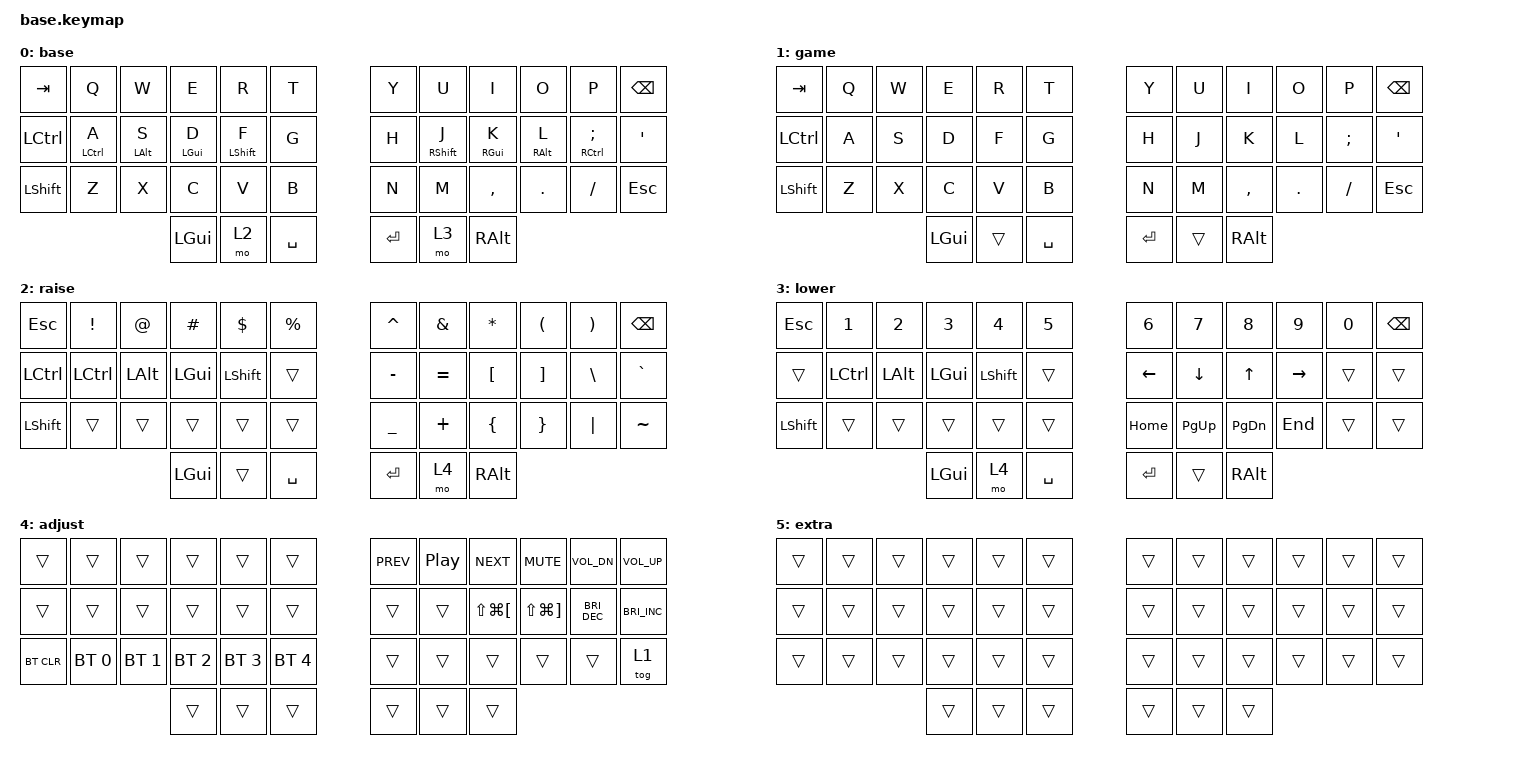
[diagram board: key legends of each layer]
// clang-format off

#include <behaviors.dtsi>
#include <behaviors/num_word.dtsi> // Requires zmk-auto-layer module.
#include <behaviors/unicode.dtsi> // Requires zmk-unicode module.
#include <zmk-helpers/helper.h> // Requires zmk-helpers module.
#include <dt-bindings/zmk/keys.h>
#ifdef CONFIG_WIRELESS
  #include <dt-bindings/zmk/bt.h>
  #include <dt-bindings/zmk/outputs.h>
  #define _BT_SEL_KEYS_                                                        \
      &bt BT_SEL 0 &bt BT_SEL 1 &bt BT_SEL 2 &bt BT_SEL 3 &bt BT_CLR
#else
  #define _BT_SEL_KEYS_ &trans &trans &trans &trans &trans
#endif

#define DEF 0 
#define GAME 1 // Game
#define NAV 2 // Upper
#define FN 3 // Lower
#define NUM 4 // Adjust
#define SYS 5

#define XXX &none
#define ___ &trans

/* Global defaults */

#define QUICK_TAP_MS 175

&sk {
  release-after-ms = <900>;
  quick-release;
};

&sl { // Allow sticky mods to chord across sticky layers.
  ignore-modifiers;
};

&lt {
  flavor = "balanced";
  tapping-term-ms = <200>;
  quick-tap-ms = <QUICK_TAP_MS>;
};

/* Homerow mods */

#define KEYS_L LT0 LT1 LT2 LT3 LT4 LT5 LM0 LM1 LM2 LM3 LM4 LM5 LB0 LB1 LB2 LB3 LB4 LB5
#define KEYS_R RT0 RT1 RT2 RT3 RT4 RT5 RM0 RM1 RM2 RM3 RM4 RM5 RB0 RB1 RB2 RB3 RB4 RB5
#define KEYS_ALL LT0 LT1 LT2 LT3 LT4 LT5 LM0 LM1 LM2 LM3 LM4 LM5 LB0 LB1 LB2 LB3 LB4 LB5 RT0 RT1 RT2 RT3 RT4 RT5 RM0 RM1 RM2 RM3 RM4 RM5 RB0 RB1 RB2 RB3 RB4 RB5
#define THUMBS LH2 LH1 LH0 RH0 RH1 RH2 // Thumbs on 36+ keys.

#define MAKE_HRM(NAME, HOLD, TAP, TRIGGER_POS)                                 \
  ZMK_HOLD_TAP(NAME, bindings = <HOLD>, <TAP>; flavor = "balanced";            \
               tapping-term-ms = <280>; quick-tap-ms = <QUICK_TAP_MS>;         \
               require-prior-idle-ms = <150>; hold-trigger-on-release;         \
  )

MAKE_HRM(hml, &kp, &kp, KEYS_R THUMBS) // Left-hand HRMs.
MAKE_HRM(hmr, &kp, &kp, KEYS_L THUMBS) // Right-hand HRMs.

// Hack: Make HRM combos tap-only (cf, ZMK issue #544).
#define ZMK_COMBO_8(NAME, TAP, POS, LAYERS, COMBO_MS, IDLE_MS, HOLD, SIDE)     \
  MAKE_HRM(hm_combo_##NAME, &kp, TAP, SIDE THUMBS)                             \
  ZMK_COMBO_6(NAME, &hm_combo_##NAME HOLD 0, POS, LAYERS, COMBO_MS, IDLE_MS)


#include "combos.dtsi" // Must be sourced after HRM-combo hack.
#include "leader.dtsi"

/* Nav cluster */

// Trigger tap-action on all interrupts.
#define MT_CORE                                                                \
  flavor = "tap-preferred";                                                    \
  tapping-term-ms = <220>;                                                     \
  quick-tap-ms = <220>;                                                        \
  hold-trigger-key-positions = <0>;

&mt { MT_CORE };

ZMK_HOLD_TAP(mt_home, bindings = <&masked_home>, <&kp>; MT_CORE)
ZMK_HOLD_TAP(mt_end, bindings = <&masked_end>, <&kp>; MT_CORE)

#define NAV_LEFT  &mt_home 0   LEFT  // Tap: left  | Long-tap: start of line.
#define NAV_RIGHT &mt_end 0    RIGHT // Tap: right | Long-tap: end   of line.
#define NAV_UP    &mt LC(HOME) UP    // Tap: up    | Long-tap: start of doc.
#define NAV_DOWN  &mt LC(END)  DOWN  // Tap: down  | Long-tap: end   of doc.
#define NAV_BSPC  &mt LC(BSPC) BSPC  // Tap: bspc  | Long-tap: delete word bwd.
#define NAV_DEL   &mt LC(DEL)  DEL   // Tap: del   | Long-tap: delete word fwd.

// Mask CTRL on left/right hold to avoid accidental jumps to start/end of doc.
#define MASK_MODS(NAME, MODS, BINDING)                                         \
  ZMK_MOD_MORPH(NAME, bindings = <BINDING>, <BINDING>; mods = <MODS>;)

MASK_MODS(masked_home, (MOD_LCTL), &kp HOME)
MASK_MODS(masked_end,  (MOD_LCTL), &kp END)

/* Magic-shift & auto-layers */

// Tap: repeat after alpha, else sticky-shift |
// Shift + tap/ double-tap: caps-word | Hold: shift.
#define MAGIC_SHIFT &magic_shift LSHFT 0
ZMK_HOLD_TAP(magic_shift, bindings = <&kp>, <&magic_shift_tap>;
             flavor = "balanced"; tapping-term-ms = <200>;
             quick-tap-ms = <QUICK_TAP_MS>;)
ZMK_MOD_MORPH(magic_shift_tap, bindings = <&shift_repeat>, <&caps_word>;
              mods = <(MOD_LSFT)>;)
ZMK_ADAPTIVE_KEY(
    shift_repeat, bindings = <&sk LSHFT>;
    repeat {
      trigger-keys = <A B C D E F G H I J K L M N O P Q R S T U V W X Y Z>;
      bindings = <&key_repeat>;
      max-prior-idle-ms = <1200>;
      strict-modifiers;
    };)
&caps_word { // Mods deactivate caps-word, requires PR #1451. [TODO: rebase]
  /delete-property/ ignore-modifiers;
};

// Tap: num-word | double-tap: sticky num-layer | Hold: num-layer.
#define SMART_NUM &smart_num NUM 0
ZMK_HOLD_TAP(smart_num, bindings = <&mo>, <&num_dance>; flavor = "balanced";
             tapping-term-ms = <200>; quick-tap-ms = <QUICK_TAP_MS>;)
ZMK_TAP_DANCE(num_dance, bindings = <&num_word NUM>, <&sl NUM>;
              tapping-term-ms = <200>;)


/* Custom behaviors */

// Alt+Tab swapper, requires tri-state module.
ZMK_TRI_STATE(swapper, bindings = <&kt LALT>, <&kp TAB>, <&kt LALT>;
              ignored-key-positions = <LT2 RT2 RM1 RM2 RM3>;)

// Define mod-morph with a *single* mod trigger for less repetition.
#define SIMPLE_MORPH(NAME, MOD, BINDING1, BINDING2)                            \
  ZMK_MOD_MORPH(NAME, mods = <(MOD_L##MOD | MOD_R##MOD)>;                      \
                bindings = <BINDING1>, <BINDING2>;)

// Tap: comma | Shift + tap: semicolon | Ctrl + shift + tap: <.
SIMPLE_MORPH(comma_morph, SFT, &kp COMMA, &comma_inner_morph)
SIMPLE_MORPH(comma_inner_morph, CTL, &kp SEMICOLON, &kp LESS_THAN)

// Tap: dot | Shift + tap: colon | Ctrl + shift + tap: >.
SIMPLE_MORPH(dot_morph, SFT, &kp DOT, &dot_inner_morph)
SIMPLE_MORPH(dot_inner_morph, CTL, &kp COLON, &kp GREATER_THAN)

// Tap: qmark | Shift + tap: excl.
SIMPLE_MORPH(qexcl, SFT, &kp QMARK, &kp EXCL)

// Tap: left/right parenthesis | Shft + tap: less-than/greater-than.
SIMPLE_MORPH(lpar_lt, SFT, &kp LPAR, &kp LT)
SIMPLE_MORPH(rpar_gt, SFT, &kp RPAR, &kp GT)

// Tap: space | Shift + tap: dot -> space -> sticky shift | Hold: nav layer.
ZMK_HOLD_TAP(lt_spc, bindings = <&mo>, <&spc_morph>; flavor = "balanced";
             tapping-term-ms = <200>; quick-tap-ms = <QUICK_TAP_MS>;)
SIMPLE_MORPH(spc_morph, SFT, &kp SPACE, &dot_spc)
ZMK_MACRO(dot_spc, bindings = <&kp DOT &kp SPACE &sk LSHFT>; wait-ms = <0>;
          tap-ms = <5>;)

// Tap: backspace | Lshft + tap: delete | Rshft + tap: shift-delete.
ZMK_MOD_MORPH(bs_del, bindings = <&kp BSPC>, <&kp DEL>;
              mods = <(MOD_LSFT|MOD_RSFT)>; keep-mods = <MOD_RSFT>;)

// Tap: copy | double-tap: cut.
ZMK_TAP_DANCE(copy_cut, bindings = <&kp LC(INS)>, <&kp LC(X)>;
              tapping-term-ms = <200>;)

// // Sticky shift + leader.
// ZMK_MACRO(leader_sft, bindings = <&sk LSHFT &leader>;)

// Misc aliases. [TODO: clean up]
#define CANCEL    &kp K_CANCEL            // Cancel caps-word & auto-layers.
#define DSK_PREV  &hmr LCTRL LG(LC(LEFT)) // Previous desktop.
#define DSK_NEXT  &hmr LALT LG(LC(RIGHT)) // Next     desktop.
#define PIN_WIN   &kp LG(LC(LS(Q)))       // Pin window across desktops.
#define PIN_APP   &kp LG(LC(LS(A)))       // Pin application across desktops.
#define DSK_MGR   &kp LA(GRAVE)           // Desktop manager.
#define VOL_DOWN  &hmr RSHFT C_VOL_DN

/* Keymap */

// ZMK_CONDITIONAL_LAYER(sys, FN NUM, SYS) // FN + NUM --> SYS.

ZMK_LAYER(base,
&kp TAB    &kp Q         &kp W        &kp E        &kp R          &kp T        /*|*/ &kp Y    &kp U          &kp I        &kp O        &kp P            &kp BSPC
&kp LCTRL  &hml LCTRL A  &hml LALT S  &hml LGUI D   &hml LSHIFT F  &kp G        /*|*/ &kp H    &hmr RSHIFT J  &hmr RGUI K  &hmr RALT L  &hmr RCTRL SEMI  &kp SQT
&kp LSHFT  &kp Z         &kp X        &kp C        &kp V          &kp B        /*|*/ &kp N    &kp M          &kp COMMA    &kp DOT      &kp FSLH         &kp ESC
                                      &kp LGUI     &mo 2          &kp SPACE    /*|*/ &kp RET  &mo 3          &kp RALT
)

ZMK_LAYER(game,
&kp TAB    &kp Q         &kp W        &kp E     &kp R   &kp T      /*|*/ &kp Y    &kp U   &kp I      &kp O    &kp P     &kp BSPC
&kp LCTRL  &kp A         &kp S        &kp D     &kp F   &kp G      /*|*/ &kp H    &kp J   &kp K      &kp L    &kp SEMI  &kp SQT
&kp LSHFT  &kp Z         &kp X        &kp C     &kp V   &kp B      /*|*/ &kp N    &kp M   &kp COMMA  &kp DOT  &kp FSLH  &kp ESC
                                      &kp LGUI  &trans  &kp SPACE  /*|*/ &kp RET  &trans  &kp RALT
)

ZMK_LAYER(raise,
&kp ESC    &kp EXCL   &kp AT    &kp HASH  &kp DLLR    &kp PRCNT    /*|*/ &kp CARET  &kp AMPS   &kp ASTRK  &kp LPAR  &kp RPAR  &kp BSPC
&kp LCTRL  &kp LCTRL  &kp LALT  &kp LGUI  &kp LSHIFT  &trans       /*|*/ &kp MINUS  &kp EQUAL  &kp LBKT   &kp RBKT  &kp BSLH  &kp GRAVE
&kp LSHFT  &trans     &trans    &trans    &trans      &trans       /*|*/ &kp UNDER  &kp PLUS   &kp LBRC   &kp RBRC  &kp PIPE  &kp TILDE
                                &kp LGUI  &trans      &kp SPACE    /*|*/ &kp RET    &mo 4      &kp RALT
)

ZMK_LAYER(lower,
&kp ESC    &kp N1     &kp N2    &kp N3    &kp N4      &kp N5       /*|*/ &kp N6    &kp N7     &kp N8    &kp N9     &kp N0  &kp BSPC
&trans     &kp LCTRL  &kp LALT  &kp LGUI  &kp LSHIFT  &trans       /*|*/ &kp LEFT  &kp DOWN   &kp UP    &kp RIGHT  &trans  &trans
&kp LSHFT  &trans     &trans    &trans    &trans      &trans       /*|*/ &kp HOME  &kp PG_UP  &kp PG_DN &kp END    &trans  &trans
                                &kp LGUI  &mo 4       &kp SPACE    /*|*/ &kp RET   &trans     &kp RALT
)

ZMK_LAYER(adjust,
&trans &trans &trans &trans &trans &trans                                           &kp C_PREV  &kp C_PP &kp C_NEXT &kp C_MUTE &kp C_VOL_DN &kp C_VOL_UP
&trans &trans &trans &trans &trans &trans                                           &trans &trans &kp LS(LG(LEFT_BRACKET))  &kp LS(LG(RBKT))  &kp C_BRI_DEC  &kp C_BRI_INC
&bt BT_CLR  &bt BT_SEL 0  &bt BT_SEL 1  &bt BT_SEL 2  &bt BT_SEL 3 &bt BT_SEL 4     &trans &trans &trans &trans &trans &tog 1
                      &trans &trans &trans       &trans &trans &trans
)
// ZMK_LAYER(adjust,
// &trans      &trans        &trans        &trans        &ext_power EP_OFF  &soft_off       /*|*/ &kp C_PREV  &kp C_PP     &kp C_NEXT                &kp C_MUTE        &kp C_VOL_DN   &kp C_VOL_UP
// &trans      &trans        &trans        &trans        &trans             &none           /*|*/ &trans      &trans       &kp LS(LG(LEFT_BRACKET))  &kp LS(LG(RBKT))  &kp C_BRI_DEC  &kp C_BRI_INC
// &bt BT_CLR  &bt BT_SEL 0  &bt BT_SEL 1  &bt BT_SEL 2  &bt BT_SEL 3       &bt BT_SEL 4    /*|*/ &trans      &trans       &trans                    &trans            &trans         &tog 1
//                                         &trans        &trans             &trans          /*|*/ &trans      &trans       &trans
// )

ZMK_LAYER(extra,
&trans &trans &trans &trans &trans &trans &trans &trans &trans &trans &trans &trans 
&trans &trans &trans &trans &trans &trans &trans &trans &trans &trans &trans &trans 
&trans &trans &trans &trans &trans &trans &trans &trans &trans &trans &trans &trans 
                                        &trans        &trans             &trans          /*|*/ &trans      &trans       &trans
)

// ZMK_BASE_LAYER(Base,
// //╭─────────────┬─────────────┬─────────────┬─────────────┬─────────────╮ ╭─────────────┬─────────────┬─────────────┬─────────────┬─────────────╮
//     &kp Q         &kp W         &kp F         &kp P         &kp B       ,   &kp J         &kp L         &kp U         &kp Y         &kp SQT     ,
// //├─────────────┼─────────────┼─────────────┼─────────────┼─────────────┤ ├─────────────┼─────────────┼─────────────┼─────────────┼─────────────┤
//     &hml LGUI A   &hml LALT R   &hml LSHFT S  &hml LCTRL T  &kp G       ,   &kp M         &hmr LCTRL N  &hmr RSHFT E  &hmr LALT I   &hmr LGUI O ,
// //├─────────────┼─────────────┼─────────────┼─────────────┼─────────────┤ ├─────────────┼─────────────┼─────────────┼─────────────┼─────────────┤
//     &kp Z         &kp X         &kp C         &kp D         &kp V       ,   &kp K         &kp H         &comma_morph  &dot_morph    &qexcl      ,
// //╰─────────────┼─────────────┴─────────────┼─────────────┼─────────────┤ ├─────────────┼─────────────┼─────────────┴───────────────────────────╯
//                                               &lt_spc NAV 0 &lt FN RET  ,   SMART_NUM     MAGIC_SHIFT
// //                                          ╰─────────────┴─────────────╯ ╰─────────────┴─────────────╯
// )
//
// ZMK_BASE_LAYER(Nav,
// //╭─────────────┬─────────────┬─────────────┬─────────────┬─────────────╮ ╭─────────────┬─────────────┬─────────────┬─────────────┬─────────────╮
//     ___           ___           &kp LS(TAB)   &swapper      ___         ,   &kp PG_UP     NAV_BSPC      NAV_UP        NAV_DEL       ___         ,
// //├─────────────┼─────────────┼─────────────┼─────────────┼─────────────┤ ├─────────────┼─────────────┼─────────────┼─────────────┼─────────────┤
//     &sk LGUI      &sk LALT      &sk LSHFT     &sk LCTRL     ___         ,   &kp PG_DN     NAV_LEFT      NAV_DOWN      NAV_RIGHT     &kp RET     ,
// //├─────────────┼─────────────┼─────────────┼─────────────┼─────────────┤ ├─────────────┼─────────────┼─────────────┼─────────────┼─────────────┤
//     ___           ___           ___           ___           ___         ,   &kp INS       &kp TAB       ___           ___           ___         ,
// //╰─────────────┼─────────────┴─────────────┼─────────────┼─────────────┤ ├─────────────┼─────────────┼─────────────┴───────────────────────────╯
//                                               ___           ___         ,   ___           CANCEL
// //                                          ╰─────────────┴─────────────╯ ╰─────────────┴─────────────╯
// )
//
// ZMK_BASE_LAYER(Fn,
// //╭─────────────┬─────────────┬─────────────┬─────────────┬─────────────╮ ╭─────────────┬─────────────┬─────────────┬─────────────┬─────────────╮
//     &kp F12       &kp F7        &kp F8        &kp F9        ___         ,   ___           &kp C_PREV    &kp C_VOL_UP  &kp C_NEXT    ___         ,
// //├─────────────┼─────────────┼─────────────┼─────────────┼─────────────┤ ├─────────────┼─────────────┼─────────────┼─────────────┼─────────────┤
//     &hml LGUI F11 &hml LALT F4  &hml LSHFT F5 &hml LCTRL F6 ___         ,   ___           DSK_PREV      VOL_DOWN      DSK_NEXT      ___         ,
// //├─────────────┼─────────────┼─────────────┼─────────────┼─────────────┤ ├─────────────┼─────────────┼─────────────┼─────────────┼─────────────┤
//     &kp F10       &kp F1        &kp F2        &kp F3        ___         ,   PIN_APP       PIN_WIN       DSK_MGR       ___           ___         ,
// //╰─────────────┼─────────────┴─────────────┼─────────────┼─────────────┤ ├─────────────┼─────────────┼─────────────┴───────────────────────────╯
//                                               ___           ___         ,   &kp C_MUTE    &kp C_PP
// //                                          ╰─────────────┴─────────────╯ ╰─────────────┴─────────────╯
// )
//
// ZMK_BASE_LAYER(Num,
// //╭─────────────┬─────────────┬─────────────┬─────────────┬─────────────╮ ╭─────────────┬─────────────┬─────────────┬─────────────┬─────────────╮
//     ___           &kp N7        &kp N8        &kp N9        ___         ,   ___           ___           ___           ___           ___         ,
// //├─────────────┼─────────────┼─────────────┼─────────────┼─────────────┤ ├─────────────┼─────────────┼─────────────┼─────────────┼─────────────┤
//     &hml LGUI N0  &hml LALT N4  &hml LSHFT N5 &hml LCTRL N6 ___         ,   ___           ___           ___           ___           ___         ,
// //├─────────────┼─────────────┼─────────────┼─────────────┼─────────────┤ ├─────────────┼─────────────┼─────────────┼─────────────┼─────────────┤
//     ___           &kp N1        &kp N2        &kp N3        ___         ,   ___           ___           ___           ___           ___         ,
// //╰─────────────┼─────────────┴─────────────┼─────────────┼─────────────┤ ├─────────────┼─────────────┼─────────────┴───────────────────────────╯
//                                               ___           ___         ,   ___           ___
// //                                          ╰─────────────┴─────────────╯ ╰─────────────┴─────────────╯
// )
//
// ZMK_BASE_LAYER(Sys,
// //╭─────────────┬─────────────┬─────────────┬─────────────┬─────────────╮ ╭─────────────┬─────────────┬─────────────┬─────────────┬─────────────╮
//                                _BT_SEL_KEYS_                            ,   ___           ___           ___           ___           ___         ,
// //├─────────────┼─────────────┼─────────────┼─────────────┼─────────────┤ ├─────────────┼─────────────┼─────────────┼─────────────┼─────────────┤
//     ___           ___           ___           ___           &bootloader ,   &bootloader   ___           ___           ___           ___         ,
// //├─────────────┼─────────────┼─────────────┼─────────────┼─────────────┤ ├─────────────┼─────────────┼─────────────┼─────────────┼─────────────┤
//     ___           ___           ___           ___           &sys_reset  ,   &sys_reset    ___           ___           ___           ___         ,
// //╰─────────────┼─────────────┴─────────────┼─────────────┼─────────────┤ ├─────────────┼─────────────┼─────────────┴───────────────────────────╯
//                                               ___           ___         ,   ___           ___
// //                                          ╰─────────────┴─────────────╯ ╰─────────────┴─────────────╯
// )
//
// ZMK_BASE_LAYER(Mouse,
// //╭─────────────┬─────────────┬─────────────┬─────────────┬─────────────╮ ╭─────────────┬─────────────┬─────────────┬─────────────┬─────────────╮
//     ___           ___           ___           ___           ___         ,   ___           &kp PG_UP     U_MS_U         &kp PG_DN    ___         ,
// //├─────────────┼─────────────┼─────────────┼─────────────┼─────────────┤ ├─────────────┼─────────────┼─────────────┼─────────────┼─────────────┤
//     ___           ___           ___           ___           ___         ,   U_WH_L        U_MS_L        U_MS_D         U_MS_R       U_WH_R      ,
// //├─────────────┼─────────────┼─────────────┼─────────────┼─────────────┤ ├─────────────┼─────────────┼─────────────┼─────────────┼─────────────┤
//     ___           ___           ___           ___           ___         ,   ___           &mkp LCLK     &mkp MCLK      &mkp RCLK    ___         ,
// //╰─────────────┼─────────────┴─────────────┼─────────────┼─────────────┤ ├─────────────┼─────────────┼─────────────┴───────────────────────────╯
//                                               ___           ___         ,   U_WH_U        U_WH_D
// //                                          ╰─────────────┴─────────────╯ ╰─────────────┴─────────────╯
// )
//

/* vim: set ft=c tw=146: */
